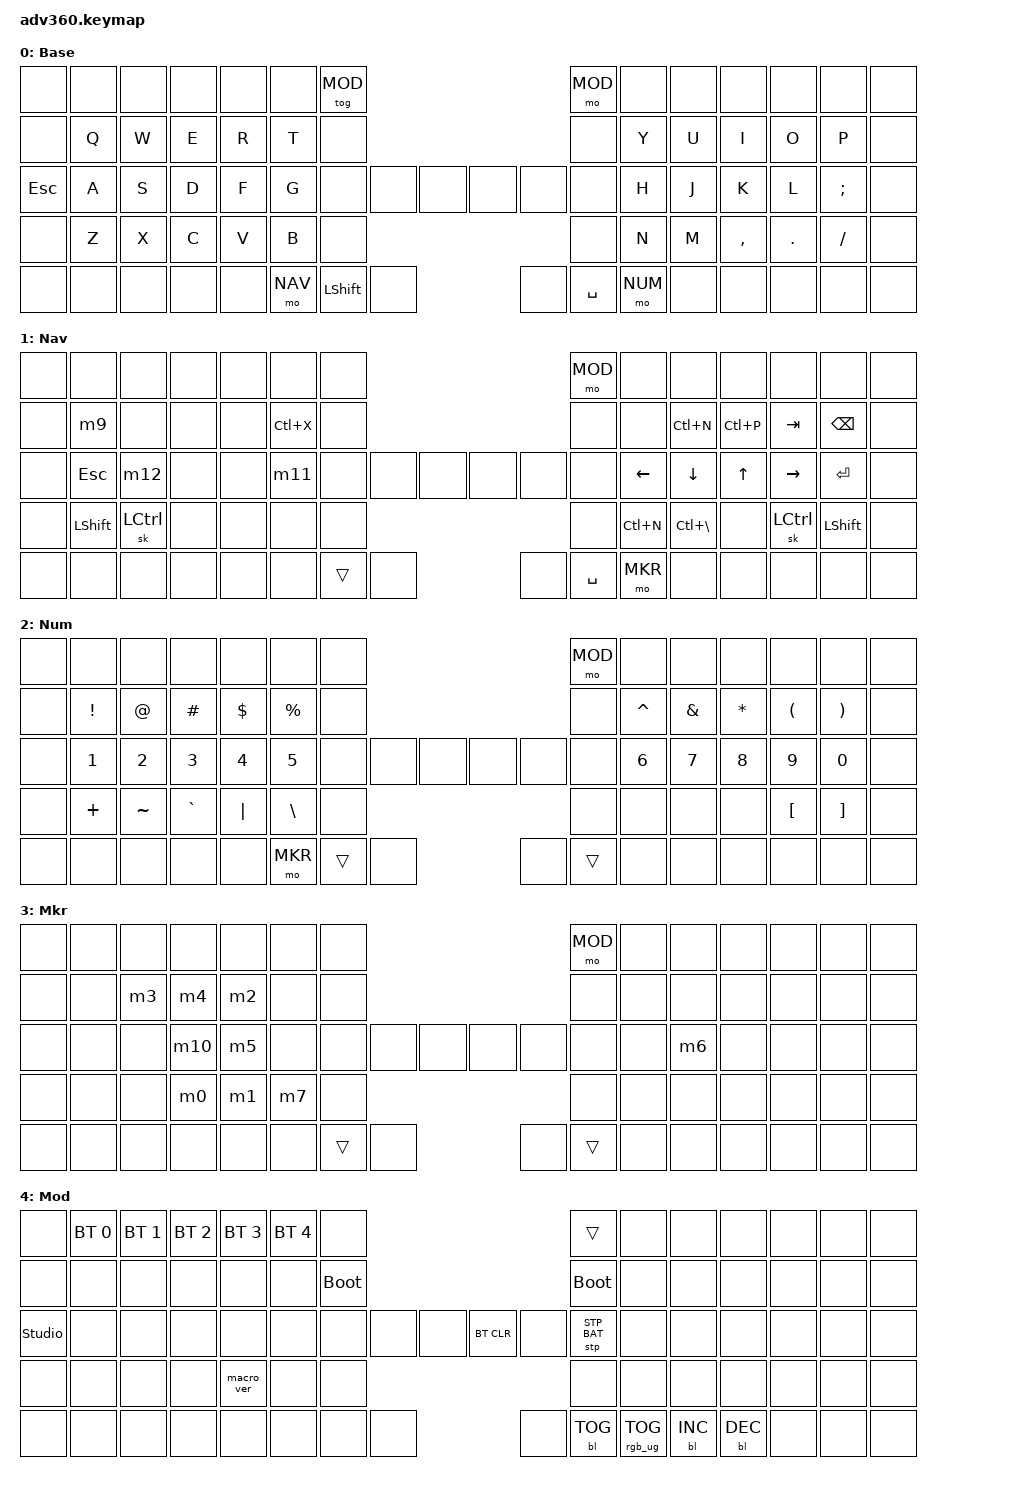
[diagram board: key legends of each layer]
#include <behaviors.dtsi>
#include <dt-bindings/zmk/keys.h>
#include <dt-bindings/zmk/bt.h>
#include <dt-bindings/zmk/rgb.h>
#include <dt-bindings/zmk/stp.h>
#include <dt-bindings/zmk/backlight.h>
#include <dt-bindings/zmk/pointing.h>

#define DEFAULT 0
#define NAV 1
#define NUM 2
#define MKR 3
#define MOD 4

// Key position defines for 34-key layout on Kinesis 360
#define KEYS_L   0  1  2  3  4  5  6 \
                14 15 16 17 18 19 20 \
                28 29 30 31 32 33 34 \
                46 47 48 49 50 51    \
                60 61 62 63 64

#define THUMBS_LEFT     35 36 \
                           52 \
                     65 66 67 \

#define KEYS_R   7  8  9 10 11 12 13 \
                21 22 23 24 25 26 27 \
                39 40 41 42 43 44 45 \
                   54 55 56 57 58 59 \
                      71 72 73 74 75

#define THUMBS_RIGHT 37 38    \
                     53       \
                     68 69 70 \

/ {

  combos {
    compatible = "zmk,combos";

    // A+G -> _ (underscore)
    combo_underscore {
      key-positions = <29 33>;
      bindings = <&kp UNDER>;
    };

    // ;+H -> - (minus)
    combo_minus {
      key-positions = <44 40>;
      bindings = <&kp MINUS>;
    };

    // Z+B -> | (pipe)
    combo_pipe_left {
      key-positions = <47 51>;
      bindings = <&kp PIPE>;
    };

    // Q+T -> = (equals)
    combo_equals {
      key-positions = <15 19>;
      bindings = <&kp EQUAL>;
    };

    // Y+P -> ` (grave)
    combo_grave {
      key-positions = <22 26>;
      bindings = <&kp GRAVE>;
    };

    // J+K+L -> CMD
    combo_cmd_right {
      key-positions = <41 42 43>;
      bindings = <&kp LCMD>;
    };

    // W+E+F -> ALT
    combo_alt_left {
      key-positions = <16 17 32>;
      bindings = <&kp LALT>;
    };

    // I+O+J -> ALT
    combo_alt_right {
      key-positions = <24 25 41>;
      bindings = <&kp LALT>;
    };

    // L+; -> ' (quote)
    combo_quote {
      key-positions = <43 44>;
      bindings = <&kp SQT>;
    };

    // LSHIFT+SPACE -> CTRL
    combo_ctrl_thumbs {
      key-positions = <67 69>;
      bindings = <&kp LCTRL>;
    };

    // X+C+V -> CTRL
    combo_ctrl_left {
      key-positions = <48 49 50>;
      bindings = <&kp LCTRL>;
    };

    // C+V+M+, -> ESC
    combo_escape {
      key-positions = <49 50 56 57>;
      bindings = <&kp ESC>;
    };

    // M+,+. -> CTRL
    combo_ctrl_right {
      key-positions = <56 57 58>;
      bindings = <&kp LCTRL>;
    };

    // G+H -> OSM(HYPR)
    combo_hyper {
      key-positions = <33 40>;
      bindings = <&sk LS(LC(LA(LGUI)))>;
    };

    // S+D+F -> CMD
    combo_cmd_left {
      key-positions = <30 31 32>;
      bindings = <&kp LCMD>;
    };

    // /+N -> | (pipe)
    combo_pipe_right {
      key-positions = <59 55>;
      bindings = <&kp PIPE>;
    };
  };

  behaviors {
    #include "macros.dtsi"
    #include "version.dtsi"

    macros {
      // M0: Cmd+C (copy)
      m0: m0 {
        compatible = "zmk,behavior-macro";
        #binding-cells = <0>;
        bindings = <&macro_press &kp LCMD>, <&macro_tap &kp C>, <&macro_release &kp LCMD>;
        display-name = "Copy";
      };

      // M1: Cmd+V (paste)
      m1: m1 {
        compatible = "zmk,behavior-macro";
        #binding-cells = <0>;
        bindings = <&macro_press &kp LCMD>, <&macro_tap &kp V>, <&macro_release &kp LCMD>;
        display-name = "Paste";
      };

      // M2: Cmd+= (zoom in)
      m2: m2 {
        compatible = "zmk,behavior-macro";
        #binding-cells = <0>;
        bindings = <&macro_press &kp LCMD>, <&macro_tap &kp EQUAL>, <&macro_release &kp LCMD>;
        display-name = "Zoom In";
      };

      // M3: Cmd+- (zoom out)
      m3: m3 {
        compatible = "zmk,behavior-macro";
        #binding-cells = <0>;
        bindings = <&macro_press &kp LCMD>, <&macro_tap &kp MINUS>, <&macro_release &kp LCMD>;
        display-name = "Zoom Out";
      };

      // M4: Cmd+0 (reset zoom)
      m4: m4 {
        compatible = "zmk,behavior-macro";
        #binding-cells = <0>;
        bindings = <&macro_press &kp LCMD>, <&macro_tap &kp N0>, <&macro_release &kp LCMD>;
        display-name = "Reset Zoom";
      };

      // M5: Cmd+Tab (app switcher with delay)
      m5: m5 {
        compatible = "zmk,behavior-macro";
        #binding-cells = <0>;
        bindings = <&macro_press &kp LCMD>, <&macro_pause_for_release>, <&macro_tap &kp TAB>, <&macro_release &kp LCMD>;
        display-name = "App Switcher";
      };

      // M6: Cmd+Space (spotlight)
      m6: m6 {
        compatible = "zmk,behavior-macro";
        #binding-cells = <0>;
        bindings = <&macro_press &kp LCMD>, <&macro_tap &kp SPACE>, <&macro_release &kp LCMD>;
        display-name = "Spotlight";
      };

      // M7: Sticky Shift+Alt+Cmd, then Up
      m7: m7 {
        compatible = "zmk,behavior-macro";
        #binding-cells = <0>;
        bindings = <&macro_press &kp LSHIFT &kp LALT &kp LCMD>, <&macro_tap &kp UP>, <&macro_release &kp LSHIFT &kp LALT &kp LCMD>;
        display-name = "Move Window Up";
      };

      // M9: Shift+Tab (reverse tab)
      m9: m9 {
        compatible = "zmk,behavior-macro";
        #binding-cells = <0>;
        bindings = <&macro_press &kp LSHIFT>, <&macro_tap &kp TAB>, <&macro_release &kp LSHIFT>;
        display-name = "Reverse Tab";
      };

      // M10: Cmd+Shift+4 (screenshot)
      m10: m10 {
        compatible = "zmk,behavior-macro";
        #binding-cells = <0>;
        bindings = <&macro_press &kp LCMD &kp LSHIFT>, <&macro_tap &kp N4>, <&macro_release &kp LCMD &kp LSHIFT>;
        display-name = "Screenshot";
      };

      // M11: Ctrl+G
      m11: m11 {
        compatible = "zmk,behavior-macro";
        #binding-cells = <0>;
        bindings = <&macro_press &kp LCTRL>, <&macro_tap &kp G>, <&macro_release &kp LCTRL>;
        display-name = "Ctrl+G";
      };

      // M12: Ctrl+S (save)
      m12: m12 {
        compatible = "zmk,behavior-macro";
        #binding-cells = <0>;
        bindings = <&macro_press &kp LCTRL>, <&macro_tap &kp S>, <&macro_release &kp LCTRL>;
        display-name = "Save";
      };
    };
  };

  keymap {
    compatible = "zmk,keymap";

    // Layer 0: Default (Base)
    default_layer {
      display-name = "Base";
      bindings = <
        &none    &none   &none   &none   &none   &none   &tog MOD                                                             &mo MOD  &none      &none      &none      &none      &none      &none
        &none    &kp Q   &kp W   &kp E   &kp R   &kp T   &none                                                                &none    &kp Y      &kp U      &kp I      &kp O      &kp P      &none
        &kp ESC  &kp A   &kp S   &kp D   &kp F   &kp G   &none           &none      &none      &none      &none                &none    &kp H      &kp J      &kp K      &kp L      &kp SEMI   &none
        &none    &kp Z   &kp X   &kp C   &kp V   &kp B                               &none      &none                                   &kp N      &kp M      &kp COMMA  &kp DOT    &kp FSLH   &none
        &none    &none   &none   &none   &none                   &mo NAV  &kp LSHIFT &none      &none      &kp SPACE  &mo NUM                     &none      &none      &none      &none      &none
      >;
    };

    // Layer 1: Navigation
    nav {
      display-name = "Nav";
      bindings = <
        &none    &none     &none      &none      &none      &none       &none                                                                &mo MOD  &none        &none          &none        &none        &none        &none
        &none    &m9       &none      &none      &none      &kp LC(X)   &none                                                                &none  &none        &kp LC(N)      &kp LC(P)    &kp TAB      &kp BSPC     &none
        &none    &kp ESC   &m12       &none      &none      &m11        &none           &none      &none      &none      &none                &none  &kp LEFT     &kp DOWN       &kp UP       &kp RIGHT    &kp ENTER    &none
        &none    &kp LSHFT &sk LCTRL  &none      &none      &none                                  &none      &none                                  &kp LC(N)    &kp LC(BSLH)   &none        &sk LCTRL    &kp LSHIFT   &none
        &none    &none     &none      &none      &none                          &none   &trans     &none      &none      &kp SPACE  &mo MKR                      &none          &none        &none        &none        &none
      >;
    };

    // Layer 2: Numbers and Symbols
    num {
      display-name = "Num";
      bindings = <
        &none    &none      &none      &none       &none       &none       &none                                                                &mo MOD  &none       &none    &none      &none       &none       &none
        &none    &kp EXCL   &kp AT     &kp HASH    &kp DLLR    &kp PRCNT   &none                                                                &none  &kp CARET   &kp AMPS &kp STAR   &kp LPAR    &kp RPAR    &none
        &none    &kp N1     &kp N2     &kp N3      &kp N4      &kp N5      &none           &none      &none      &none      &none                &none  &kp N6      &kp N7   &kp N8     &kp N9      &kp N0      &none
        &none    &kp PLUS   &kp TILDE  &kp GRAVE   &kp PIPE    &kp BSLH                               &none      &none                                  &none       &none    &none      &kp LBKT    &kp RBKT    &none
        &none    &none      &none      &none       &none                           &mo MKR &trans     &none      &none      &trans     &none                       &none    &none      &none       &none       &none
      >;
    };

    // Layer 3: Macros
    mkr {
      display-name = "Mkr";
      bindings = <
        &none  &none  &none  &none  &none  &none  &none                                                           &mo MOD  &none  &none  &none  &none  &none  &none
        &none  &none  &m3    &m4    &m2    &none  &none                                                           &none  &none  &none  &none  &none  &none  &none
        &none  &none  &none  &m10   &m5    &none  &none           &none &none   &none   &none                     &none  &none  &m6    &none  &none  &none  &none
        &none  &none  &none  &m0    &m1    &m7                           &none   &none                                   &none  &none  &none  &none  &none  &none
        &none  &none  &none  &none  &none                  &none &trans &none   &none   &trans &none                           &none  &none  &none  &none  &none
      >;
    };

    // Layer 4: Mod (Bluetooth, settings, etc.)
    mod {
      display-name = "Mod";
      bindings = <
        &none &bt BT_SEL 0 &bt BT_SEL 1 &bt BT_SEL 2 &bt BT_SEL 3 &bt BT_SEL 4 &none                                                                     &trans                 &none        &none        &none        &none &none &none
        &none &none        &none        &none        &none        &none        &bootloader                                                               &bootloader            &none        &none        &none        &none &none &none
        &studio_unlock &none        &none        &none        &none        &none        &none                   &none &none &bt BT_CLR &none                      &stp STP_BAT &none        &none        &none        &none &none &none
        &none &none        &none        &none        &macro_ver   &none                                      &none &none                                                        &none        &none        &none        &none &none &none
        &none &none        &none        &none        &none                                       &none &none &none &none      &bl BL_TOG &rgb_ug RGB_TOG                                     &bl BL_INC   &bl BL_DEC   &none &none &none
      >;
    };

    extra1 {
      display-name = "Red";
      status = "reserved";
    };

    extra2 {
      display-name = "Purple";
      status = "reserved";
    };

    extra3 {
      display-name = "Cyan";
      status = "reserved";
    };

    extra4 {
      display-name = "Yellow";
      status = "reserved";
    };
  };
};

/* vim: set ft=c nowrap: */
